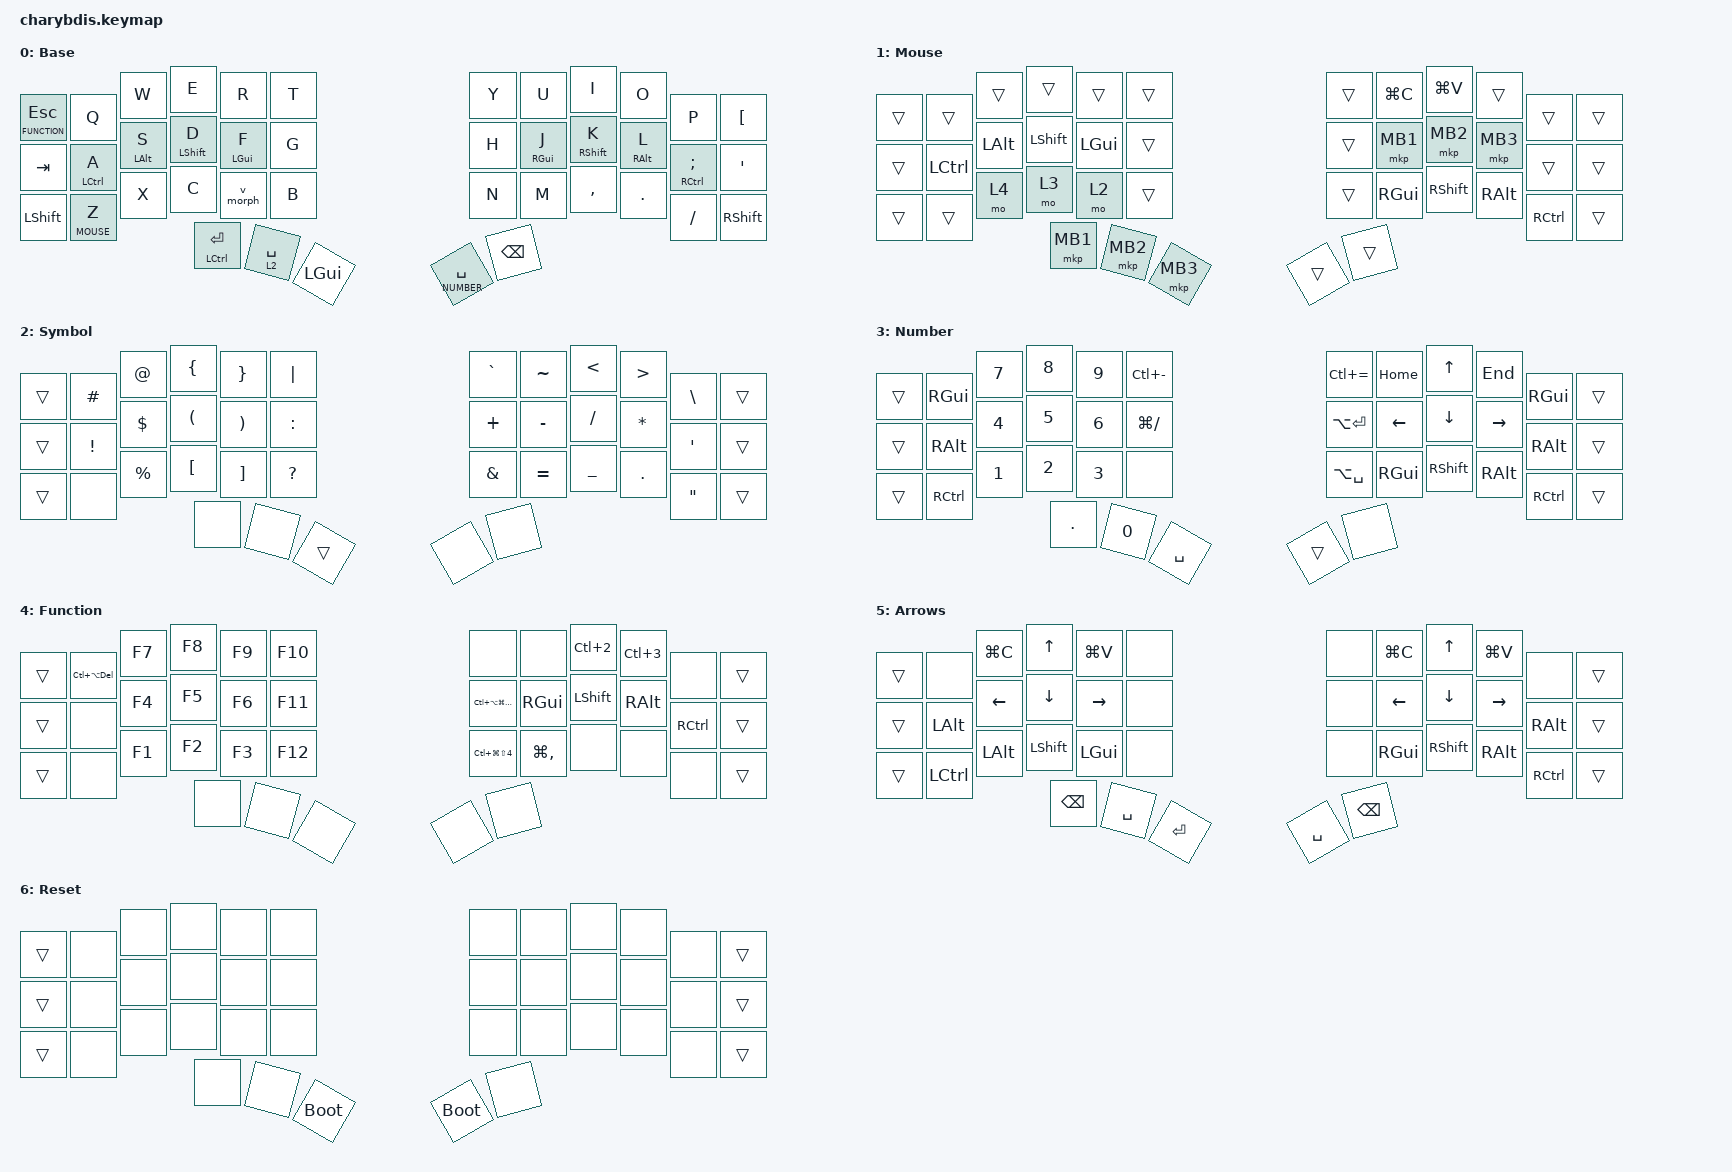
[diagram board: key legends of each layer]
#include <behaviors.dtsi>
#include <dt-bindings/zmk/keys.h>
#include <dt-bindings/zmk/pointing.h>

#define BASE 0
#define MOUSE 1
#define SYMBOL 2
#define NUMBER 3
#define FUNCTION 4
#define ARROWS 5
#define RESET 6

#define KEYS_L  0 1 2 3 4 5  12 13 14 15 16 17  24 25 26 27 28 29
#define KEYS_R  6 7 8 9 10 11  18 19 20 21 22 23  30 31 32 33 34 35
#define THUMBS  36 37 38 39 40

&sk {
  release-after-ms = <600>;
  quick-release;
};

&sl {
  ignore-modifiers;
};

&mt {
  flavor = "tap-preferred";
};

&lt {
  flavor = "balanced";
  tapping-term-ms = <200>;
  quick-tap-ms = <175>;
};

&caps_word {
  /delete-property/ ignore-modifiers;
};

/ {
  behaviors {
    hml: hml {
      compatible = "zmk,behavior-hold-tap";
      #binding-cells = <2>;
      flavor = "balanced";
      tapping-term-ms = <2000>;
      quick-tap-ms = <175>;
      require-prior-idle-ms = <250>;
      hold-trigger-key-positions = <KEYS_R THUMBS>;
      hold-trigger-on-release;
      bindings =
        <&kp>,
        <&kp>;
    };

    hmr: hmr {
      compatible = "zmk,behavior-hold-tap";
      #binding-cells = <2>;
      flavor = "balanced";
      tapping-term-ms = <2000>;
      quick-tap-ms = <175>;
      require-prior-idle-ms = <250>;
      hold-trigger-key-positions = <KEYS_L THUMBS>;
      hold-trigger-on-release;
      bindings =
        <&kp>,
        <&kp>;
    };
    hml_s: hml_s {
      compatible = "zmk,behavior-hold-tap";
      #binding-cells = <2>;
      flavor = "balanced";
      tapping-term-ms = <2000>;
      quick-tap-ms = <175>;
      require-prior-idle-ms = <0>;
      hold-trigger-key-positions = <KEYS_R THUMBS>;
      hold-trigger-on-release;
      bindings =
        <&kp>,
        <&kp>;
    };

    hmr_s: hmr_s {
      compatible = "zmk,behavior-hold-tap";
      #binding-cells = <2>;
      flavor = "balanced";
      tapping-term-ms = <2000>;
      quick-tap-ms = <175>;
      require-prior-idle-ms = <0>;
      hold-trigger-key-positions = <KEYS_L THUMBS>;
      hold-trigger-on-release;
      bindings =
        <&kp>,
        <&kp>;
    };


    smart_shift: smart_shift {
      compatible = "zmk,behavior-mod-morph";
      #binding-cells = <0>;
      bindings = <&sk LSHIFT>, <&caps_word>;
      mods = <(MOD_LSFT)>;
    };

    paste_with_numbers: paste_with_numbers {
      compatible = "zmk,behavior-macro";
      #binding-cells = <0>;
      wait-ms = <10>;
      tap-ms = <10>;
      bindings
        = <&macro_press &kp LSHFT &kp LGUI>
        , <&macro_tap &kp V>
        , <&macro_release &kp LSHFT &kp LGUI>
        , <&macro_tap &sl NUMBER>
        ;
    };

    v_morph: v_morph {
      compatible = "zmk,behavior-mod-morph";
      #binding-cells = <0>;
      bindings = <&kp V>, <&paste_with_numbers>;
      mods = <(MOD_LSFT|MOD_LGUI)>;
    };
  };

  combos {
    compatible = "zmk,combos";
    timeout-ms = <20>;
    require-prior-idle-ms = <250>;

    combo_reset_layer_left {
      key-positions = <20 24>;
      bindings = <&to RESET>;
    };
    combo_reset_layer_right {
      key-positions = <25 29>;
      bindings = <&to RESET>;
    };
    combo_reset_central {
      key-positions = <32 33>;
      bindings = <&bootloader>;
      require-prior-idle-ms = <2000>;
    };
    combo_normal_right {
      key-positions = <7 8>;
      bindings = <&to BASE>;
    };
    combo_normal_left {
      key-positions = <3 4>;
      bindings = <&to BASE>;
    };
    combo_fn {
      key-positions = <27 28>;
      bindings = <&sl FUNCTION>;
    };
    combo_left_hand_arrows {
      key-positions = <1 5>;
      bindings = <&to ARROWS>;
    };
    combo_left_numberts {
      key-positions = <0 5>;
      bindings = <&to NUMBER>;
    };
    combo_right_hand_arrows {
      key-positions = <6 10>;
      bindings = <&to ARROWS>;
    };
    combo_unlock {
      key-positions = <0 4>;
      bindings = <&studio_unlock>;
    };
  };
  chosen {
    zmk,physical-layout = &charybdis_6col_layout;
  };

  keymap {
    compatible = "zmk,keymap";

    Base {
      display-name = "Base";
      bindings = <
        &lt FUNCTION ESCAPE       &kp Q              &kp W            &kp E             &kp R             &kp T                &kp Y                 &kp U            &kp I               &kp O             &kp P                &kp LEFT_BRACKET
        &kp TAB                   &hml LCTRL A       &hml LALT S      &hml LSHFT D      &hml LGUI F       &kp G                &kp H                 &hmr RGUI J      &hmr RSHFT K        &hmr RALT L       &hmr RCTRL SEMI      &kp SINGLE_QUOTE
        &kp LSHFT                 &lt MOUSE Z        &kp X            &kp C             &v_morph          &kp B                &kp N                 &kp M            &kp COMMA           &kp DOT           &kp FSLH             &kp RSHFT
                                                                      &mt LCTRL RET         &lt 2 SPACE       &kp LGUI         &lt NUMBER SPACE      &kp BSPC
      >;
    };
    Mouse {  
      display-name = "Mouse";
      bindings = <
        &trans                    &trans             &trans           &trans           &trans             &trans                &trans                &kp LG(C)       &kp LG(V)           &trans             &trans               &trans 
        &trans                    &kp LCTRL          &kp LALT         &kp LSHFT        &kp LGUI           &trans                &trans                &mkp MB1        &mkp MB2            &mkp MB3           &trans               &trans
        &trans                    &trans             &mo 4            &mo 3            &mo 2              &trans                &trans                &kp RGUI        &kp RSHFT           &kp RALT           &kp RCTRL            &trans
                                                                      &mkp MB1          &mkp MB2           &mkp MB3              &trans                &trans 
      >;
    };

    Sym {
      display-name = "Symbol";
      bindings = <
        &trans &kp HASH           &kp AT_SIGN  &kp LEFT_BRACE       &kp RIGHT_BRACE       &kp PIPE              &kp GRAVE &kp TILDE &kp LESS_THAN &kp GREATER_THAN &kp BACKSLASH        &trans
        &trans &kp EXCLAMATION    &kp DOLLAR   &kp LEFT_PARENTHESIS &kp RIGHT_PARENTHESIS &kp COLON             &kp PLUS  &kp MINUS &kp SLASH     &kp ASTRK        &kp SINGLE_QUOTE     &trans
        &trans &none              &kp PERCENT  &kp LEFT_BRACKET     &kp RIGHT_BRACKET     &kp QUESTION          &kp AMPS  &kp EQUAL &kp UNDER     &kp PERIOD       &kp DOUBLE_QUOTES    &trans
                    &none                &none                 &trans                &none     &none                                                                     
      >;
    };
 
    Num {
      display-name = "Number";
      bindings = <
        &trans   &kp RGUI      &kp N7  &kp N8  &kp N9  &kp LC(MINUS)          &kp LC(EQUAL)   &kp HOME       &kp UP     &kp END           &kp RGUI    &trans
        &trans   &kp RALT      &kp N4  &kp N5  &kp N6  &kp LG(SLASH)          &kp LA(ENTER)   &kp LEFT       &kp DOWN   &kp RIGHT         &kp RALT    &trans
        &trans   &kp RCTRL     &kp N1  &kp N2  &kp N3  &none                  &kp LA(SPACE)   &kp RGUI       &kp RSHFT  &kp RALT          &kp RCTRL   &trans
                                &kp DOT         &kp N0          &kp SPACE              &trans        &none
      >;
    };

    Fun {
      display-name = "Function";
      bindings =<
        &trans    &kp LC(LA(DEL)) &kp F7 &kp F8 &kp F9 &kp F10          &none                     &none     &kp LC(2)    &kp LC(3)  &none       &trans        
        &trans    &none           &kp F4 &kp F5 &kp F6 &kp F11          &kp LC(LA(LG(LS(ENTER)))) &kp RGUI  &kp LSHFT    &kp RALT   &kp RCTRL   &trans     
        &trans    &none           &kp F1 &kp F2 &kp F3 &kp F12          &kp LC(LG(LS(4)))         &kp LG(COMMA)     &none        &none      &none       &trans
                               &none  &none  &none            &none &none
      >;
    };

    ARROWS {
      display-name = "Arrows";
      bindings = <
        &trans &none     &kp LG(C)    &kp UP     &kp LG(V)      &none                &none  &kp LG(C)     &kp UP      &kp LG(V)     &none        &trans      
        &trans &kp LALT  &kp LEFT     &kp DOWN   &kp RIGHT      &none                &none  &kp LEFT      &kp DOWN    &kp RIGHT  &kp RALT     &trans   
        &trans &kp LCTRL &kp LALT     &kp LSHFT  &kp LGUI       &none                &none  &kp RGUI      &kp RSHFT   &kp RALT   &kp RCTRL    &trans
                    &kp BSPC &kp SPACE &kp RET          &kp SPACE &kp BSPC                
      >;
    };

    Reset {
      display-name = "Reset";
      bindings = <
        &trans &none &none &none &none &none                &none &none &none &none &none &trans      
        &trans &none &none &none &none &none                &none &none &none &none &none &trans   
        &trans &none &none &none &none &none                &none &none &none &none &none &trans
                    &none &none &bootloader          &bootloader &none                
      >;
    };
  };
};









